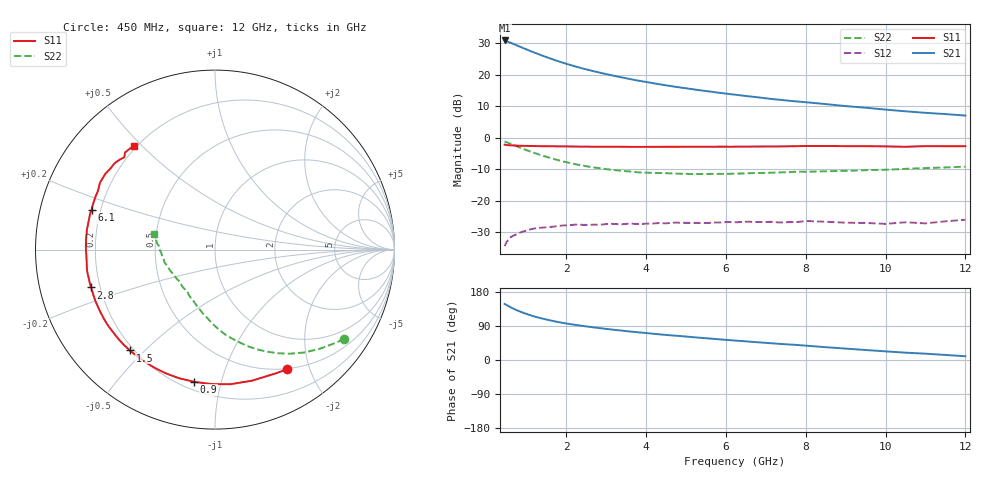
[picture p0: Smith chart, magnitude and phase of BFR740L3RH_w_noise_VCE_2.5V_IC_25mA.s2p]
! (c) 2012  Infineon Technologies AG, Munich
! Infineon Technologies  Discrete & RF Semiconductors
! BFR740L3RH
! VCE =  2.5 V,  IC =  25 mA
! Common Emitter S-Parameters:  May 2012
# GHz  S  MA  R  50
!  f  S11  S21  S12  S22
! GHz  MAG  ANG  MAG  ANG  MAG  ANG  MAG  ANG
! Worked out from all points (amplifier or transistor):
!   85 points, 450 MHz to 12 GHz, reference 50 ohm
!   highest |S21| = 30.8 dB at 450 MHz (marker M1)
!   |S21| within 3 dB of that: start of sweep to 1.03 GHz
!   unconditionally stable (mu >= 1): 6.182 GHz to end of sweep
!   at 1.8 GHz: K = 0.29, MSG = 26.1 dB, |S12| = -27.9 dB
!   at 4.6 GHz: K = 0.75, MSG = 21.7 dB, |S12| = -27.0 dB
!   at 12 GHz: K = 1.91, MAG = 11.0 dB, |S12| = -26.0 dB
!   lowest NFmin = 1.03 dB at 450 MHz
!   S11 on the Smith chart (normalised r, x): 450 MHz: 0.49, -1.67; 900 MHz: 0.25, -0.82; 1.5 GHz: 0.18, -0.45; 2.8 GHz: 0.16, -0.15; 6.1 GHz: 0.16, +0.15; 12 GHz: 0.19, +0.47
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0.45  0.7791 -58.8  34.83 148.0  0.0192 53.2  0.8754 -34.7
0.6  0.7589 -74.2  31.99 139.2  0.0267 53.4  0.8008 -43.8
0.7  0.755 -83.4  30.15 134.0  0.0287 49.7  0.7568 -49.3
0.8  0.7494 -91.5  28.34 129.4  0.0308 46.5  0.7143 -54.3
0.9  0.7459 -98.9  26.66 125.3  0.0326 43.5  0.6742 -58.9
1  0.7441 -105.6  25.1 121.5  0.034 40.4  0.6381 -63.0
1.2  0.7397 -116.8  22.34 114.8  0.0367 35.9  0.5747 -70.5
1.3  0.7376 -121.8  21.1 111.9  0.0373 34.3  0.5464 -73.8
1.5  0.7349 -130.1  18.95 106.7  0.0382 31.3  0.4993 -79.9
1.7  0.7329 -137.4  17.1 102.1  0.0393 28.4  0.4596 -85.4
1.9  0.7309 -143.6  15.54 98.1  0.0408 26.6  0.4245 -90.2
2.1  0.7285 -148.8  14.21 94.6  0.0413 23.9  0.3966 -94.4
2.4  0.7253 -155.6  12.58 90.0  0.0418 23.8  0.3642 -100.4
2.8  0.722 -163.0  10.89 84.5  0.042 21.6  0.3316 -107.3
3.6  0.7182 -174.6  8.503 75.1  0.0437 19.8  0.2921 -119.8
4.3  0.7197 178.0  7.1 68.1  0.0445 19.8  0.2771 -128.1
5.3  0.7218 168.3  5.714 59.1  0.0448 18.4  0.2668 -140.3
6.1  0.7226 162.2  4.925 52.4  0.0463 19.2  0.2688 -148.8
6.3  0.7248 160.6  4.755 50.7  0.046 18.3  0.2714 -151.0
8.5  0.7424 145.3  3.418 33.8  0.0468 17.5  0.295 -172.3
10.5  0.7213 134.5  2.628 19.3  0.0459 22.6  0.3221 174.5
12  0.7348 128.0  2.25 9.9  0.0504 30.1  0.3493 166.0
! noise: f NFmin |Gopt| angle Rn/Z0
0.45  1.03  0.05  178  0.12
0.9  1.04  0.05  160  0.11
1.5  1.05  0.07  144  0.11
1.9  1.06  0.09  139  0.11
2.4  1.08  0.11  136  0.1
3.5  1.13  0.13  142  0.1
5.5  1.26  0.2  154  0.09
8  1.46  0.27  180  0.09
10  1.64  0.31  -162  0.1
12  1.82  0.36  -140  0.11
